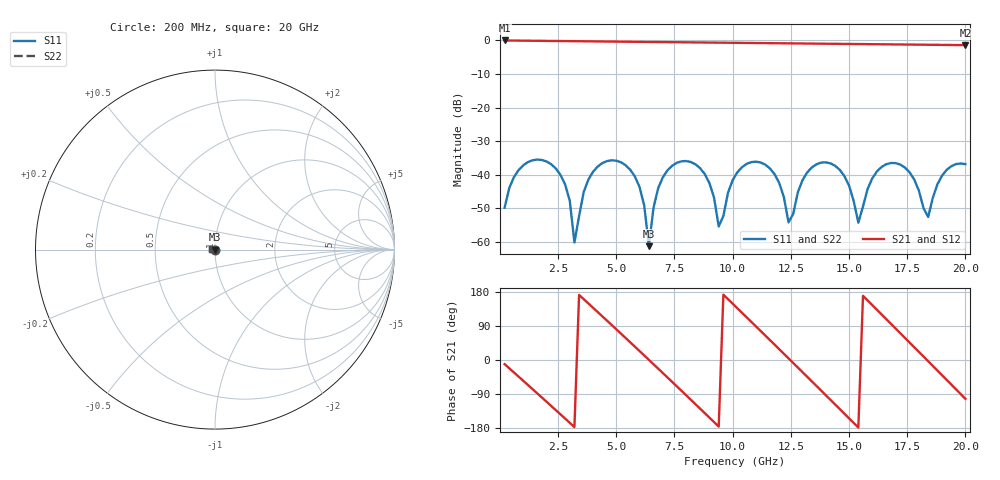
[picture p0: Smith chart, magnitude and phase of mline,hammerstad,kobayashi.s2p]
# HZ S RI R 50
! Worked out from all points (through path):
!   100 points, 200 MHz to 20 GHz, reference 50 ohm
!   highest |S21| = -0.02 dB at 200 MHz (marker M1); lowest = -1.4 dB at 20 GHz (marker M2)
!   group delay of S21, straight-line fit = 165 ps
!   lowest |S11| = -61.2 dB at 6.4 GHz (marker M3), VSWR 1.00, Z = 49.9 + j0.0108 ohm
!   |S11| at or under -10 dB: start of sweep to end of sweep
!   |S22| runs from -61.2 to -35.5 dB; largest |S21 - S12| = 0
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2e8  -0.000648 -0.00317  0.9798 -0.1894  0.9798 -0.1894  -0.000648 -0.00317
1.8e9  -0.0164 0.00255  -0.1531 -0.9725  -0.1531 -0.9725  -0.0164 0.00255
2.8e9  -0.0034 0.00632  -0.882 -0.4192  -0.882 -0.4192  -0.0034 0.00632
3.2e9  -0.000494 0.000848  -0.972 -0.0511  -0.972 -0.0511  -0.000494 0.000848
3.6e9  -0.00229 -0.00506  -0.9145 0.3238  -0.9145 0.3238  -0.00229 -0.00506
5.4e9  -0.012 0.00701  0.5053 0.8116  0.5053 0.8116  -0.012 0.00701
6e9  -0.00328 0.00567  0.8723 0.3801  0.8723 0.3801  -0.00328 0.00567
6.4e9  -0.000859 0.000108  0.9484 0.00666  0.9484 0.00666  -0.000859 0.000108
6.8e9  -0.00321 -0.00546  0.8713 -0.3668  0.8713 -0.3668  -0.00321 -0.00546
8.2e9  -0.015 0.00368  -0.238 -0.9038  -0.238 -0.9038  -0.015 0.00368
9.4e9  -0.0013 0.00109  -0.9232 -0.0691  -0.9232 -0.0691  -0.0013 0.00109
1.02e10  -0.00813 -0.00722  -0.6686 0.6317  -0.6686 0.6317  -0.00813 -0.00722
1.1e10  -0.0157 0.000316  0.0202 0.9136  0.0202 0.9136  -0.0157 0.000316
1.2e10  -0.00473 0.0059  0.7965 0.4331  0.7965 0.4331  -0.00473 0.0059
1.24e10  -0.00165 0.00106  0.9011 0.0687  0.9011 0.0687  -0.00165 0.00106
1.34e10  -0.0112 -0.00634  0.4975 -0.7457  0.4975 -0.7457  -0.0112 -0.00634
1.42e10  -0.0144 0.00339  -0.2306 -0.8603  -0.2306 -0.8603  -0.0144 0.00339
1.52e10  -0.00264 0.0031  -0.858 -0.2116  -0.858 -0.2116  -0.00264 0.0031
1.54e10  -0.0019 0.000371  -0.882 -0.0246  -0.882 -0.0246  -0.0019 0.000371
1.68e10  -0.0149 -0.00125  -0.0845 0.8683  -0.0845 0.8683  -0.0149 -0.00125
1.84e10  -0.00225 -0.000715  0.86 -0.0486  0.86 -0.0486  -0.00225 -0.000715
2e10  -0.0142 0.0026  -0.1833 -0.8303  -0.1833 -0.8303  -0.0142 0.0026
